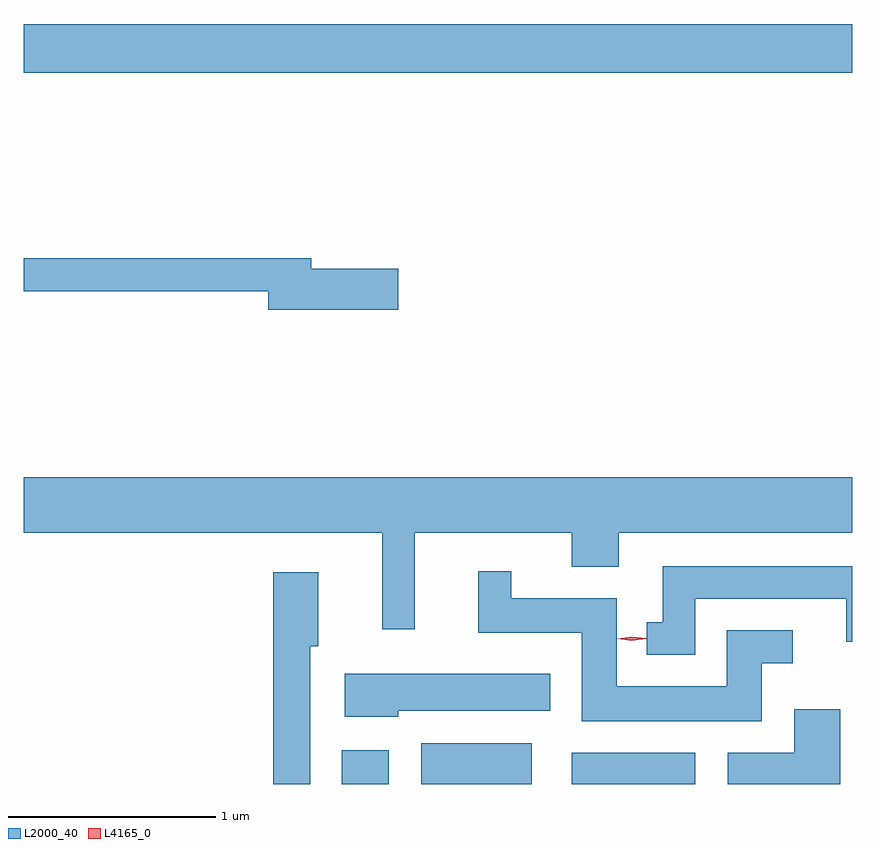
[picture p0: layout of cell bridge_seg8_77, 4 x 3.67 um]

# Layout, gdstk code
import gdstk
lib = gdstk.Library(unit=1e-6, precision=1e-09)
def R(c, l, rs):  # rectangles x0, y0, x1, y1
    for r in rs: c.add(gdstk.rectangle(r[:2], r[2:], *l))
def P(c, l, *ps):  # polygons
    for p in ps: c.add(gdstk.Polygon(p, *l))
L2000_40 = (2000, 40)
L4165_0 = (4165, 0)

bridge_seg8_77 = lib.new_cell('bridge_seg8_77')
R(bridge_seg8_77, L2000_40, [(1598.681,1806.342,1598.909,1806.504), (1599.066,1806.342,1599.599,1806.539), (1599.791,1806.342,1600.389,1806.494), (1597.146,1809.776,1601.146,1810.011)])
P(bridge_seg8_77, L2000_40, [(1598.954,1808.829),(1598.534,1808.829),(1598.534,1808.879),(1597.146,1808.879),(1597.146,1808.721),(1598.326,1808.721),(1598.326,1808.631),(1598.954,1808.631)],
  [(1599.034,1807.556),(1599.791,1807.556),(1599.791,1807.391),(1600.019,1807.391),(1600.019,1807.556),(1601.146,1807.556),(1601.146,1807.824),(1597.146,1807.824),(1597.146,1807.556),(1598.876,1807.556),(1598.876,1807.088),(1599.034,1807.088)],
  [(1600.389,1807.236),(1601.116,1807.236),(1601.116,1807.028),(1601.146,1807.028),(1601.146,1807.394),(1600.231,1807.394),(1600.231,1807.124),(1600.153,1807.124),(1600.153,1806.966),(1600.389,1806.966)],
  [(1600.709,1806.926),(1600.858,1806.926),(1600.858,1807.084),(1600.541,1807.084),(1600.541,1806.814),(1600.009,1806.814),(1600.009,1807.239),(1599.499,1807.239),(1599.499,1807.368),(1599.341,1807.368),(1599.341,1807.071),(1599.841,1807.071),(1599.841,1806.646),(1600.709,1806.646)],
  [(1598.529,1807.006),(1598.569,1807.006),(1598.569,1807.364),(1598.351,1807.364),(1598.351,1806.342),(1598.529,1806.342)],
  [(1598.954,1806.696),(1599.689,1806.696),(1599.689,1806.874),(1598.696,1806.874),(1598.696,1806.666),(1598.954,1806.666)],
  [(1601.089,1806.704),(1600.866,1806.704),(1600.866,1806.494),(1600.546,1806.494),(1600.546,1806.342),(1601.089,1806.342)])
P(bridge_seg8_77, L4165_0, [(1600.081,1807.034),(1600.012,1807.043),(1600.012,1807.044),(1600.012,1807.044),(1600.081,1807.054),(1600.151,1807.045),(1600.151,1807.045),(1600.151,1807.044)])

lib.write_gds('bridge_seg8_77.gds')
